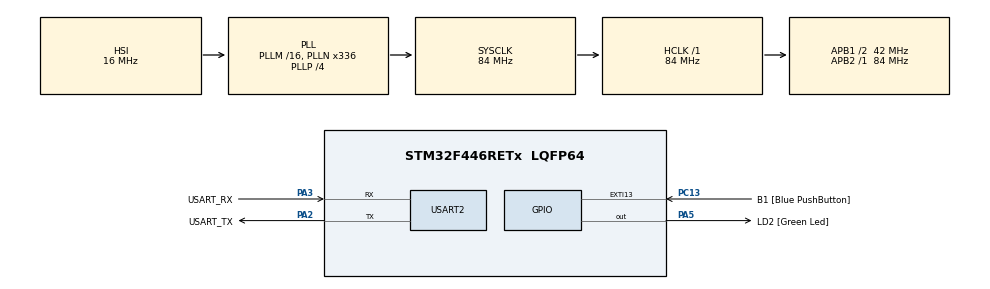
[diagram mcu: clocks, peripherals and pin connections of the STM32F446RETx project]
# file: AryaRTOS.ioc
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Mcu.Family=STM32F4
Mcu.Name=STM32F446RETx
Mcu.Package=LQFP64
NVIC.PriorityGroup=NVIC_PRIORITYGROUP_0
PA13.GPIO_Label=TMS
PA13.Mode=Trace_Asynchronous_SW
PA13.Signal=SYS_JTMS-SWDIO
PA14.GPIO_Label=TCK
PA14.Mode=Trace_Asynchronous_SW
PA14.Signal=SYS_JTCK-SWCLK
PA2.GPIO_Label=USART_TX
PA2.GPIO_Mode=GPIO_MODE_AF_PP
PA2.GPIO_PuPd=GPIO_NOPULL
PA2.GPIO_Speed=GPIO_SPEED_FREQ_LOW
PA2.Mode=Asynchronous
PA2.Signal=USART2_TX
PA3.GPIO_Label=USART_RX
PA3.GPIO_Mode=GPIO_MODE_AF_PP
PA3.GPIO_PuPd=GPIO_NOPULL
PA3.GPIO_Speed=GPIO_SPEED_FREQ_LOW
PA3.Mode=Asynchronous
PA3.Signal=USART2_RX
PA5.GPIO_Label=LD2 [Green Led]
PA5.GPIO_Mode=GPIO_MODE_OUTPUT_PP
PA5.GPIO_PuPd=GPIO_NOPULL
PA5.GPIO_Speed=GPIO_SPEED_FREQ_LOW
PA5.Signal=GPIO_Output
PB3.GPIO_Label=SWO
PB3.Mode=Trace_Asynchronous_SW
PB3.Signal=SYS_JTDO-SWO
PC13-ANTI_TAMP.GPIO_Label=B1 [Blue PushButton]
PC13-ANTI_TAMP.GPIO_ModeDefaultEXTI=GPIO_MODE_IT_FALLING
PC13-ANTI_TAMP.GPIO_PuPd=GPIO_NOPULL
PC13-ANTI_TAMP.Signal=GPXTI13
PC14-OSC32_IN.Mode=LSE-External-Oscillator
PC14-OSC32_IN.Signal=RCC_OSC32_IN
PC15-OSC32_OUT.Mode=LSE-External-Oscillator
PC15-OSC32_OUT.Signal=RCC_OSC32_OUT
PH0\ -\ OSC_IN.Mode=HSE-External-Clock-Source
PH0\ -\ OSC_IN.Signal=RCC_OSC_IN
PH1\ -\ OSC_OUT.Mode=HSE-External-Clock-Source
PH1\ -\ OSC_OUT.Signal=RCC_OSC_OUT
ProjectManager.HeapSize=0x200
ProjectManager.StackSize=0x400
ProjectManager.TargetToolchain=STM32CubeIDE
RCC.48MHZClocksFreq_Value=48000000
RCC.AHBFreq_Value=84000000
RCC.APB1CLKDivider=RCC_HCLK_DIV2
RCC.APB1Freq_Value=42000000
RCC.APB1TimFreq_Value=84000000
RCC.APB2Freq_Value=84000000
RCC.APB2TimFreq_Value=84000000
RCC.CortexFreq_Value=84000000
RCC.HCLKFreq_Value=84000000
RCC.HSE_VALUE=8000000
RCC.HSI_VALUE=16000000
RCC.PLLN=336
RCC.PLLP=RCC_PLLP_DIV4
RCC.PLLQ=7
RCC.SYSCLKFreq_VALUE=84000000
RCC.SYSCLKSource=RCC_SYSCLKSOURCE_PLLCLK
RCC.VCOOutputFreq_Value=336000000
USART2.VirtualMode=VM_ASYNC
board=NUCLEO-F446RE

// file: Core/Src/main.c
/* USER CODE BEGIN Header */
/**
  ******************************************************************************
  * @file           : main.c
  * @brief          : Main program body
  ******************************************************************************
  * @attention
  *
  * Copyright (c) 2024 STMicroelectronics.
  * All rights reserved.
  *
  * This software is licensed under terms that can be found in the LICENSE file
  * in the root directory of this software component.
  * If no LICENSE file comes with this software, it is provided AS-IS.
  *
  ******************************************************************************
  */
/* USER CODE END Header */
#include "main.h"

/* USER CODE BEGIN Includes */
#include <stdio.h>
#include <string.h>
#include "kernel.h"
/* USER CODE END Includes */

UART_HandleTypeDef huart2;

void SystemClock_Config(void);
static void MX_GPIO_Init(void);
static void MX_USART2_UART_Init(void);

/* USER CODE BEGIN 0 */

static volatile uint32_t pass_count = 0;
static volatile uint32_t fail_count = 0;

#define TEST_ASSERT(cond, name) do { \
    if (cond) { printf("  PASS: %s\r\n", name); pass_count++; } \
    else      { printf("  FAIL: %s\r\n", name); fail_count++; } \
} while(0)

static volatile uint32_t shared_counter = 0;
static volatile uint32_t thread_order[8];
static volatile uint32_t order_idx = 0;
static mutex_t test_mutex;
static semaphore_t test_sem;
static volatile uint32_t sleep_start_tick = 0;
static volatile uint32_t sleep_end_tick = 0;
static volatile uint32_t mq_received_val = 0;
static uint8_t mq_buf[4 * sizeof(uint32_t)];
static msgqueue_t test_mq;
static volatile uint32_t mq_blocking_send_ok = 0;
static volatile int term_thread_ran = 0;
static volatile uint32_t rr_counter_a = 0;
static volatile uint32_t rr_counter_b = 0;
static volatile uint32_t rr_interleave_count = 0;
static volatile uint32_t pri_change_observed = 0;
static volatile float fpu_result_a = 0.0f;
static volatile float fpu_result_b = 0.0f;

static void thread_increment(void *arg)
{
    (void)arg;
    for (int i = 0; i < 5; i++) {
        shared_counter++;
        osYield();
    }
}

static void thread_record_order(void *arg)
{
    uint32_t id = (uint32_t)(uintptr_t)arg;
    if (order_idx < 8)
        thread_order[order_idx++] = id;
}

static void thread_mutex_holder(void *arg)
{
    (void)arg;
    osMutexAcquire(&test_mutex, UINT32_MAX);
    shared_counter = 1;
    osSleep(100);
    osMutexRelease(&test_mutex);
}

static void thread_mutex_waiter(void *arg)
{
    (void)arg;
    osSleep(20);
    osMutexAcquire(&test_mutex, UINT32_MAX);
    shared_counter = 2;
    osMutexRelease(&test_mutex);
}

static void thread_sem_producer(void *arg)
{
    (void)arg;
    osSleep(50);
    osSemaphoreRelease(&test_sem);
}

static void thread_sem_consumer(void *arg)
{
    (void)arg;
    int rc = osSemaphoreAcquire(&test_sem, 2000);
    shared_counter = (rc == 0) ? 1 : 0;
}

static void thread_mq_receiver(void *arg)
{
    (void)arg;
    uint32_t val = 0;
    int rc = osMsgQueueRecv(&test_mq, &val, 2000);
    if (rc == 0) mq_received_val = val;
}

static void thread_mq_sender(void *arg)
{
    (void)arg;
    osSleep(50);
    uint32_t val = 0xBEEF;
    osMsgQueueSend(&test_mq, &val, UINT32_MAX);
}

static void thread_sleep_test(void *arg)
{
    (void)arg;
    sleep_start_tick = osGetTick();
    osSleep(200);
    sleep_end_tick = osGetTick();
}

static void thread_terminates_early(void *arg)
{
    (void)arg;
    term_thread_ran = 1;
    osThreadTerminate();
}

static void thread_rr_a(void *arg)
{
    (void)arg;
    uint32_t last_b = 0;
    while (rr_counter_a < 500000) {
        rr_counter_a++;
        if (rr_counter_b != last_b) {
            rr_interleave_count++;
            last_b = rr_counter_b;
        }
    }
}

static void thread_rr_b(void *arg)
{
    (void)arg;
    while (rr_counter_b < 500000)
        rr_counter_b++;
}

static void thread_check_priority(void *arg)
{
    (void)arg;
    osSleep(50);
    pri_change_observed = osGetPriority(current_thread->tid);
}

static void thread_mutex_hog(void *arg)
{
    (void)arg;
    osMutexAcquire(&test_mutex, UINT32_MAX);
    osSleep(500);
    osMutexRelease(&test_mutex);
}

static void thread_mq_blocking_sender(void *arg)
{
    (void)arg;
    uint32_t val = 99;
    int rc = osMsgQueueSend(&test_mq, &val, 2000);
    mq_blocking_send_ok = (rc == 0) ? 1 : 0;
}

static void thread_fpu_a(void *arg)
{
    (void)arg;
    volatile float acc = 1.0f;
    for (int i = 0; i < 10000; i++)
        acc = acc * 1.0001f;
    fpu_result_a = acc;
}

static void thread_fpu_b(void *arg)
{
    (void)arg;
    volatile float acc = 2.0f;
    for (int i = 0; i < 10000; i++)
        acc = acc * 0.9999f;
    fpu_result_b = acc;
}

static void test_runner(void *arg)
{
    (void)arg;
    int rc;

    printf("\r\n1. Thread creation & execution\r\n");
    shared_counter = 0;
    osCreateThread(thread_increment, NULL, 3);
    osSleep(200);
    TEST_ASSERT(shared_counter == 5, "thread ran and incremented 5x");

    printf("2. Thread argument passing\r\n");
    order_idx = 0;
    memset((void *)thread_order, 0, sizeof(thread_order));
    osCreateThread(thread_record_order, (void *)(uintptr_t)42, 3);
    osSleep(100);
    TEST_ASSERT(order_idx == 1, "thread ran exactly once");
    TEST_ASSERT(thread_order[0] == 42, "received argument 42");

    printf("3. Priority scheduling\r\n");
    order_idx = 0;
    memset((void *)thread_order, 0, sizeof(thread_order));
    osCreateThread(thread_record_order, (void *)(uintptr_t)2, 5);
    osCreateThread(thread_record_order, (void *)(uintptr_t)1, 2);
    osSleep(200);
    TEST_ASSERT(order_idx == 2, "both threads ran");
    TEST_ASSERT(thread_order[0] == 1, "high-pri ran first");
    TEST_ASSERT(thread_order[1] == 2, "low-pri ran second");

    printf("4. Round-robin timeslicing\r\n");
    rr_counter_a = 0;
    rr_counter_b = 0;
    rr_interleave_count = 0;
    osCreateThread(thread_rr_a, NULL, 4);
    osCreateThread(thread_rr_b, NULL, 4);
    osSleep(2000);
    TEST_ASSERT(rr_counter_a == 500000, "RR thread A completed");
    TEST_ASSERT(rr_counter_b == 500000, "RR thread B completed");
    TEST_ASSERT(rr_interleave_count >= 3,
                "threads actually interleaved (timeslicing worked)");
    printf("         interleaves detected: %lu\r\n", rr_interleave_count);

    printf("5. Sleep timing\r\n");
    sleep_start_tick = 0;
    sleep_end_tick = 0;
    osCreateThread(thread_sleep_test, NULL, 3);
    osSleep(400);
    uint32_t elapsed = sleep_end_tick - sleep_start_tick;
    TEST_ASSERT(elapsed >= 199 && elapsed <= 210, "osSleep(200) ~200 ticks");
    if (elapsed < 199 || elapsed > 210)
        printf("         actual: %lu ticks\r\n", elapsed);

    printf("6. Yield\r\n");
    shared_counter = 0;
    osCreateThread(thread_increment, NULL, 3);
    osCreateThread(thread_increment, NULL, 3);
    osSleep(300);
    TEST_ASSERT(shared_counter == 10, "2 threads x 5 increments via yield");

    printf("7. Mutex basic lock/unlock\r\n");
    osMutexInit(&test_mutex);
    rc = osMutexAcquire(&test_mutex, 0);
    TEST_ASSERT(rc == 0, "acquire uncontested");
    rc = osMutexAcquire(&test_mutex, 0);
    TEST_ASSERT(rc == -1, "re-acquire fails (no recursion)");
    rc = osMutexRelease(&test_mutex);
    TEST_ASSERT(rc == 0, "release OK");

    printf("8. Mutex contention\r\n");
    osMutexInit(&test_mutex);
    shared_counter = 0;
    osCreateThread(thread_mutex_holder, NULL, 3);
    osCreateThread(thread_mutex_waiter, NULL, 3);
    osSleep(300);
    TEST_ASSERT(shared_counter == 2, "both acquired in sequence");

    printf("9. Mutex timeout\r\n");
    osMutexInit(&test_mutex);
    osCreateThread(thread_mutex_hog, NULL, 3);
    osSleep(20);
    rc = osMutexAcquire(&test_mutex, 50);
    TEST_ASSERT(rc == -1, "timed out as expected");
    osSleep(500);

    printf("10. Semaphore basic\r\n");
    osSemaphoreInit(&test_sem, 1, 5);
    rc = osSemaphoreAcquire(&test_sem, 0);
    TEST_ASSERT(rc == 0, "acquire (count=1)");
    rc = osSemaphoreAcquire(&test_sem, 0);
    TEST_ASSERT(rc == -1, "acquire fails (count=0)");
    osSemaphoreRelease(&test_sem);
    rc = osSemaphoreAcquire(&test_sem, 0);
    TEST_ASSERT(rc == 0, "acquire after release");
    osSemaphoreRelease(&test_sem);

    printf("11. Semaphore max count\r\n");
    osSemaphoreInit(&test_sem, 0, 2);
    osSemaphoreRelease(&test_sem);
    osSemaphoreRelease(&test_sem);
    osSemaphoreRelease(&test_sem);
    rc = osSemaphoreAcquire(&test_sem, 0);
    int r2 = osSemaphoreAcquire(&test_sem, 0);
    int r3 = osSemaphoreAcquire(&test_sem, 0);
    TEST_ASSERT(rc == 0 && r2 == 0, "acquired 2 (max)");
    TEST_ASSERT(r3 == -1, "3rd acquire fails (capped at max=2)");

    printf("12. Semaphore blocking\r\n");
    osSemaphoreInit(&test_sem, 0, 1);
    shared_counter = 0;
    osCreateThread(thread_sem_consumer, NULL, 3);
    osCreateThread(thread_sem_producer, NULL, 3);
    osSleep(300);
    TEST_ASSERT(shared_counter == 1, "consumer unblocked by producer");

    printf("13. Semaphore timeout\r\n");
    osSemaphoreInit(&test_sem, 0, 1);
    rc = osSemaphoreAcquire(&test_sem, 50);
    TEST_ASSERT(rc == -1, "timed out");

    printf("14. Message queue send/recv\r\n");
    osMsgQueueInit(&test_mq, mq_buf, sizeof(uint32_t), 4);
    uint32_t sv = 0x1234, rv = 0;
    rc = osMsgQueueSend(&test_mq, &sv, 0);
    TEST_ASSERT(rc == 0, "send OK");
    TEST_ASSERT(osMsgQueueCount(&test_mq) == 1, "count=1");
    rc = osMsgQueueRecv(&test_mq, &rv, 0);
    TEST_ASSERT(rc == 0 && rv == 0x1234, "recv correct value");
    TEST_ASSERT(osMsgQueueCount(&test_mq) == 0, "count=0");

    printf("15. MQ blocking recv\r\n");
    osMsgQueueInit(&test_mq, mq_buf, sizeof(uint32_t), 4);
    mq_received_val = 0;
    osCreateThread(thread_mq_receiver, NULL, 3);
    osCreateThread(thread_mq_sender, NULL, 3);
    osSleep(300);
    TEST_ASSERT(mq_received_val == 0xBEEF, "receiver got 0xBEEF");

    printf("16. MQ full + blocking send\r\n");
    osMsgQueueInit(&test_mq, mq_buf, sizeof(uint32_t), 4);
    uint32_t v;
    for (int i = 0; i < 4; i++) {
        v = (uint32_t)(i + 1);
        osMsgQueueSend(&test_mq, &v, 0);
    }
    TEST_ASSERT(osMsgQueueCount(&test_mq) == 4, "queue full (4/4)");
    v = 0;
    rc = osMsgQueueSend(&test_mq, &v, 0);
    TEST_ASSERT(rc == -1, "send fails when full (timeout=0)");
    mq_blocking_send_ok = 0;
    osCreateThread(thread_mq_blocking_sender, NULL, 3);
    osSleep(50);
    osMsgQueueRecv(&test_mq, &v, 0);
    osSleep(100);
    TEST_ASSERT(mq_blocking_send_ok == 1, "blocking send unblocked after recv");

    printf("17. MQ recv timeout\r\n");
    osMsgQueueInit(&test_mq, mq_buf, sizeof(uint32_t), 4);
    uint32_t dummy = 0;
    rc = osMsgQueueRecv(&test_mq, &dummy, 50);
    TEST_ASSERT(rc == -1, "recv timed out on empty queue");

    printf("18. osSetPriority\r\n");
    pri_change_observed = 0;
    uint32_t tid = osCreateThread(thread_check_priority, NULL, 5);
    osSleep(10);
    osSetPriority(tid, 2);
    osSleep(100);
    TEST_ASSERT(pri_change_observed == 2, "observed new priority 2");

    printf("19. Thread self-termination\r\n");
    term_thread_ran = 0;
    osCreateThread(thread_terminates_early, NULL, 3);
    osSleep(100);
    TEST_ASSERT(term_thread_ran == 1, "thread ran then terminated");

    printf("20. FPU context switching\r\n");
    fpu_result_a = 0.0f;
    fpu_result_b = 0.0f;
    osCreateThread(thread_fpu_a, NULL, 4);
    osCreateThread(thread_fpu_b, NULL, 4);
    osSleep(2000);

    float expect_a = 1.0f;
    for (int i = 0; i < 10000; i++) expect_a *= 1.0001f;
    float expect_b = 2.0f;
    for (int i = 0; i < 10000; i++) expect_b *= 0.9999f;
    float err_a = fpu_result_a - expect_a;
    float err_b = fpu_result_b - expect_b;
    if (err_a < 0) err_a = -err_a;
    if (err_b < 0) err_b = -err_b;
    TEST_ASSERT(err_a < 0.001f, "FPU thread A result correct");
    TEST_ASSERT(err_b < 0.001f, "FPU thread B result correct");
    if (err_a >= 0.001f || err_b >= 0.001f) {
        printf("         A: %ld/1000  B: %ld/1000\r\n",
               (int32_t)(fpu_result_a * 1000),
               (int32_t)(fpu_result_b * 1000));
    }

    printf("21. Tick counter\r\n");
    uint32_t t1 = osGetTick();
    osSleep(100);
    uint32_t t2 = osGetTick();
    uint32_t diff = t2 - t1;
    TEST_ASSERT(diff >= 99 && diff <= 110, "100ms advanced ~100 ticks");

    printf("\r\n RESULTS: %lu passed, %lu failed\r\n", pass_count, fail_count);
    if (fail_count == 0)
        printf(" ALL TESTS PASSED\r\n");

    while (1) {
        HAL_GPIO_TogglePin(LD2_GPIO_Port, LD2_Pin);
        osSleep(fail_count == 0 ? 200 : 1000);
    }
}

/* USER CODE END 0 */

int main(void)
{

  /* MCU Configuration--------------------------------------------------------*/

  /* Reset of all peripherals, Initializes the Flash interface and the Systick. */
  HAL_Init();

  /* Configure the system clock */
  SystemClock_Config();

  /* Initialize all configured peripherals */
  MX_GPIO_Init();
  MX_USART2_UART_Init();
  /* USER CODE BEGIN 2 */
  osKernelInitialize();
  osCreateThread(test_runner, NULL, 1);
  osKernelStart();
  /* USER CODE END 2 */

  /* Infinite loop */
  while (1)
  {

  }
}

void SystemClock_Config(void)
{
  RCC_OscInitTypeDef RCC_OscInitStruct = {0};
  RCC_ClkInitTypeDef RCC_ClkInitStruct = {0};

  /** Configure the main internal regulator output voltage
  */
  __HAL_RCC_PWR_CLK_ENABLE();
  __HAL_PWR_VOLTAGESCALING_CONFIG(PWR_REGULATOR_VOLTAGE_SCALE2);

  /** Initializes the RCC Oscillators according to the specified parameters
  * in the RCC_OscInitTypeDef structure.
  */
  RCC_OscInitStruct.OscillatorType = RCC_OSCILLATORTYPE_HSI;
  RCC_OscInitStruct.HSIState = RCC_HSI_ON;
  RCC_OscInitStruct.HSICalibrationValue = RCC_HSICALIBRATION_DEFAULT;
  RCC_OscInitStruct.PLL.PLLState = RCC_PLL_ON;
  RCC_OscInitStruct.PLL.PLLSource = RCC_PLLSOURCE_HSI;
  RCC_OscInitStruct.PLL.PLLM = 16;
  RCC_OscInitStruct.PLL.PLLN = 336;
  RCC_OscInitStruct.PLL.PLLP = RCC_PLLP_DIV4;
  RCC_OscInitStruct.PLL.PLLQ = 7;
  if (HAL_RCC_OscConfig(&RCC_OscInitStruct) != HAL_OK)
  {
    Error_Handler();
  }

  /** Initializes the CPU, AHB and APB buses clocks
  */
  RCC_ClkInitStruct.ClockType = RCC_CLOCKTYPE_HCLK|RCC_CLOCKTYPE_SYSCLK
                              |RCC_CLOCKTYPE_PCLK1|RCC_CLOCKTYPE_PCLK2;
  RCC_ClkInitStruct.SYSCLKSource = RCC_SYSCLKSOURCE_PLLCLK;
  RCC_ClkInitStruct.AHBCLKDivider = RCC_SYSCLK_DIV1;
  RCC_ClkInitStruct.APB1CLKDivider = RCC_HCLK_DIV2;
  RCC_ClkInitStruct.APB2CLKDivider = RCC_HCLK_DIV1;

  if (HAL_RCC_ClockConfig(&RCC_ClkInitStruct, FLASH_LATENCY_2) != HAL_OK)
  {
    Error_Handler();
  }
}

static void MX_USART2_UART_Init(void)
{

  huart2.Instance = USART2;
  huart2.Init.BaudRate = 115200;
  huart2.Init.WordLength = UART_WORDLENGTH_8B;
  huart2.Init.StopBits = UART_STOPBITS_1;
  huart2.Init.Parity = UART_PARITY_NONE;
  huart2.Init.Mode = UART_MODE_TX_RX;
  huart2.Init.HwFlowCtl = UART_HWCONTROL_NONE;
  huart2.Init.OverSampling = UART_OVERSAMPLING_16;
  if (HAL_UART_Init(&huart2) != HAL_OK)
  {
    Error_Handler();
  }

}

static void MX_GPIO_Init(void)
{
  GPIO_InitTypeDef GPIO_InitStruct = {0};

  /* GPIO Ports Clock Enable */
  __HAL_RCC_GPIOC_CLK_ENABLE();
  __HAL_RCC_GPIOH_CLK_ENABLE();
  __HAL_RCC_GPIOA_CLK_ENABLE();
  __HAL_RCC_GPIOB_CLK_ENABLE();

  /*Configure GPIO pin Output Level */
  HAL_GPIO_WritePin(LD2_GPIO_Port, LD2_Pin, GPIO_PIN_RESET);

  /*Configure GPIO pin : B1_Pin */
  GPIO_InitStruct.Pin = B1_Pin;
  GPIO_InitStruct.Mode = GPIO_MODE_IT_FALLING;
  GPIO_InitStruct.Pull = GPIO_NOPULL;
  HAL_GPIO_Init(B1_GPIO_Port, &GPIO_InitStruct);

  /*Configure GPIO pin : LD2_Pin */
  GPIO_InitStruct.Pin = LD2_Pin;
  GPIO_InitStruct.Mode = GPIO_MODE_OUTPUT_PP;
  GPIO_InitStruct.Pull = GPIO_NOPULL;
  GPIO_InitStruct.Speed = GPIO_SPEED_FREQ_LOW;
  HAL_GPIO_Init(LD2_GPIO_Port, &GPIO_InitStruct);

}

/* USER CODE BEGIN 4 */
int __io_putchar(int ch)
{
  uint8_t c = (uint8_t)ch;
  HAL_UART_Transmit(&huart2, &c, 1, HAL_MAX_DELAY);
  return ch;
}
/* USER CODE END 4 */

void Error_Handler(void)
{
  __disable_irq();
  while (1)
  {
  }
}
